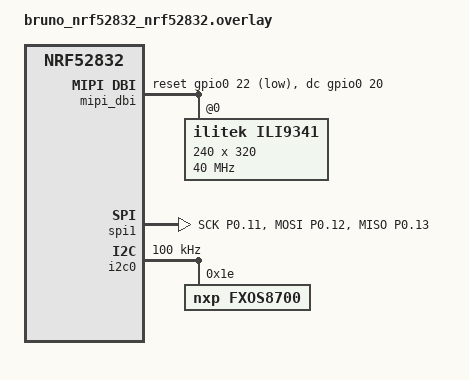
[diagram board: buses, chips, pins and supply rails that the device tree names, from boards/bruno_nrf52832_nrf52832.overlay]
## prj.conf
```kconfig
CONFIG_MAIN_STACK_SIZE=4096
CONFIG_LOG=y

# Fix ILI9341 color order: SPI sends bytes in memory order (little-endian),
# but ILI9341 expects high byte first. Pre-swapping bytes in LVGL corrects this.
CONFIG_LV_COLOR_16_SWAP=y

# Enable LVGL's internal logging system
CONFIG_LV_USE_LOG=y
# Only show warnings and errors (not verbose info/trace)
CONFIG_LV_LOG_LEVEL_WARN=y

CONFIG_LVGL=y
CONFIG_LV_Z_MEM_POOL_SIZE=16384

CONFIG_DISPLAY=y
CONFIG_INPUT=y
CONFIG_SENSOR=y
CONFIG_EMUL=y

CONFIG_I2C=y

# Enable %f support in picolibc's vsnprintf (used by lv_label_set_text_fmt)
CONFIG_CBPRINTF_FP_SUPPORT=y

# Fonts
CONFIG_LV_FONT_MONTSERRAT_16=y
```

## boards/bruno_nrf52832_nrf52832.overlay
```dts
/*
 * TFT SPI - ILI9341 240x320
 * Compatible: "ilitek,ili9341"
 * Uses MIPI DBI (SPI mode) interface
 */

#include <zephyr/dt-bindings/gpio/gpio.h>
#include <zephyr/dt-bindings/mipi_dbi/mipi_dbi.h>

/ {
    aliases {
        accel0 = &fxos8700;
    };

    chosen {
        zephyr,display = &ili9341;
    };

    mipi_dbi {
        compatible = "zephyr,mipi-dbi-spi";
        spi-dev = <&spi1>;
        dc-gpios = <&gpio0 20 GPIO_ACTIVE_HIGH>;
        reset-gpios = <&gpio0 22 GPIO_ACTIVE_LOW>;
        #address-cells = <1>;
        #size-cells = <0>;

        ili9341: ili9341@0 {
            compatible = "ilitek,ili9341";
            reg = <0>;
            mipi-max-frequency = <40000000>;
            mipi-mode = "MIPI_DBI_MODE_SPI_4WIRE";

            width = <240>;
            height = <320>;
            pixel-format = <0>;
            rotation = <180>;
        };
    };
};

/* I2C0 habilitado para o FXOS8700CQ */
/* &i2c0 { status = "disabled"; }; */
&i2c1 { status = "disabled"; };
&spi0 { status = "disabled"; };
&adc  { status = "disabled"; };

&spi1 {
    compatible = "nordic,nrf-spim";
    status = "okay";

    #address-cells = <1>;
    #size-cells = <0>;

    cs-gpios = <&gpio0 19 GPIO_ACTIVE_LOW>;

    pinctrl-0 = <&spi1_default>;
    pinctrl-1 = <&spi1_sleep>;
    pinctrl-names = "default", "sleep";


};

&i2c0 {
    compatible = "nordic,nrf-twim"; /* TWIM com EasyDMA (substitui nrf-twi legado) */
    status = "okay";
    clock-frequency = <I2C_BITRATE_STANDARD>; /* 100 kHz */

    fxos8700: fxos8700@1e {
        compatible = "nxp,fxos8700";
        reg = <0x1e>;
        range = <2>;
    };
};

&pinctrl {
    spi1_default: spi1_default {
        group1 {
            psels = <NRF_PSEL(SPIM_SCK,  0, 11)>,
                    <NRF_PSEL(SPIM_MOSI, 0, 12)>,
                    <NRF_PSEL(SPIM_MISO, 0, 13)>;
        };
    };

    spi1_sleep: spi1_sleep {
        group1 {
            psels = <NRF_PSEL(SPIM_SCK,  0, 11)>,
                    <NRF_PSEL(SPIM_MOSI, 0, 12)>,
                    <NRF_PSEL(SPIM_MISO, 0, 13)>;
            low-power-enable;
        };
    };
};
```

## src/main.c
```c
/*
 * LVGL usage example on Zephyr RTOS
 *
 * Copyright (c) 2023 Benjamin Cabé <benjamin@zephyrproject.org>
 *
 * SPDX-License-Identifier: Apache-2.0
 */

#include <zephyr/device.h>
#include <zephyr/devicetree.h>
#include <zephyr/drivers/display.h>
#include <zephyr/drivers/sensor.h>
#include <zephyr/drivers/i2c.h>

#include <lvgl.h>
#include <stdio.h>
#include <string.h>
#include <zephyr/kernel.h>

#include <zephyr/logging/log.h>
LOG_MODULE_REGISTER(app, CONFIG_LOG_DEFAULT_LEVEL);

#define ACCEL_SCALE 100
#define G_MS2       9.81

static lv_obj_t *chart1;
static lv_chart_series_t *ser_x;
static lv_chart_series_t *ser_y;
static lv_chart_series_t *ser_z;
static lv_obj_t *lbl_x;
static lv_obj_t *lbl_y;
static lv_obj_t *lbl_z;
static lv_timer_t *sensor_timer;

const struct device *accel_sensor;

/* Timer handler: fetches sensor data and appends it to the chart */
static void sensor_timer_cb(lv_timer_t *timer)
{
	struct sensor_value accel[3];
	int rc = sensor_sample_fetch(accel_sensor);

	if (rc == 0) {
		rc = sensor_channel_get(accel_sensor, SENSOR_CHAN_ACCEL_XYZ, accel);
	}
	if (rc < 0) {
		LOG_ERR("ERROR: Update failed: %d\n", rc);
		return;
	}

	double ax = sensor_value_to_double(&accel[0]);
	double ay = sensor_value_to_double(&accel[1]);
	double az = sensor_value_to_double(&accel[2]);

	lv_chart_set_next_value(chart1, ser_x, (int32_t)(ax * ACCEL_SCALE));
	lv_chart_set_next_value(chart1, ser_y, (int32_t)(ay * ACCEL_SCALE));
	lv_chart_set_next_value(chart1, ser_z, (int32_t)(az * ACCEL_SCALE));

	/* Update legend with current values in G */
	lv_label_set_text_fmt(lbl_x, "X:%.2fG", ax / G_MS2);
	lv_label_set_text_fmt(lbl_y, "Y:%.2fG", ay / G_MS2);
	lv_label_set_text_fmt(lbl_z, "Z:%.2fG", az / G_MS2);
}

static void create_legend(lv_obj_t *parent)
{
	lv_obj_t *legend = lv_obj_create(parent);
	lv_obj_remove_style_all(legend);
	lv_obj_set_size(legend, LV_HOR_RES, 30);
	lv_obj_align(legend, LV_ALIGN_TOP_LEFT, 0, 0);
	lv_obj_set_style_bg_color(legend, lv_color_white(), 0);
	lv_obj_set_style_bg_opa(legend, LV_OPA_COVER, 0);
	lv_obj_set_flex_flow(legend, LV_FLEX_FLOW_ROW);
	lv_obj_set_flex_align(legend, LV_FLEX_ALIGN_SPACE_EVENLY, LV_FLEX_ALIGN_CENTER,
			      LV_FLEX_ALIGN_CENTER);

	static const struct {
		const char *init;
		lv_palette_t color;
		lv_obj_t **lbl;
	} items[] = {
		{"X: --", LV_PALETTE_RED, &lbl_x},
		{"Y: --", LV_PALETTE_BLUE, &lbl_y},
		{"Z: --", LV_PALETTE_GREEN, &lbl_z},
	};

	for (int i = 0; i < 3; i++) {
		lv_obj_t *lbl = lv_label_create(legend);
		lv_label_set_text(lbl, items[i].init);
		lv_obj_set_style_text_font(lbl, &lv_font_montserrat_16, 0);
		lv_obj_set_style_text_color(lbl, lv_palette_main(items[i].color), 0);
		*items[i].lbl = lbl;
	}
}

#define CHART_TOP_MARGIN 30


static void create_accelerometer_chart(lv_obj_t *parent)
{
	create_legend(parent);

	chart1 = lv_chart_create(parent);
	lv_obj_set_size(chart1, LV_HOR_RES, LV_VER_RES - CHART_TOP_MARGIN);
	lv_obj_align(chart1, LV_ALIGN_BOTTOM_MID, 0, 0);
	lv_chart_set_type(chart1, LV_CHART_TYPE_LINE);
	lv_chart_set_div_line_count(chart1, 5, 8);
	lv_chart_set_range(chart1, LV_CHART_AXIS_PRIMARY_Y, -2000, 2000); /* -/+ 2G scaled x100 */
	lv_chart_set_update_mode(chart1, LV_CHART_UPDATE_MODE_SHIFT);

	ser_x = lv_chart_add_series(chart1, lv_palette_main(LV_PALETTE_RED),
				    LV_CHART_AXIS_PRIMARY_Y);
	ser_y = lv_chart_add_series(chart1, lv_palette_main(LV_PALETTE_BLUE),
				    LV_CHART_AXIS_PRIMARY_Y);
	ser_z = lv_chart_add_series(chart1, lv_palette_main(LV_PALETTE_GREEN),
				    LV_CHART_AXIS_PRIMARY_Y);

	lv_chart_set_point_count(chart1, CONFIG_SAMPLE_CHART_POINTS_PER_SERIES);

	/* Do not display point markers on the data */
	lv_obj_set_style_size(chart1, 0, 0, LV_PART_INDICATOR);
}

/* Scan do barramento I2C - lista todos os enderecos que respondem */
static void i2c_scan(const struct device *i2c_dev)
{
	uint8_t dummy;

	LOG_INF("I2C scan on %s...", i2c_dev->name);
	for (uint8_t addr = 0x08; addr < 0x78; addr++) {
		int ret = i2c_read(i2c_dev, &dummy, 1, addr);
		if (ret == 0) {
			LOG_INF("  Found device at 0x%02X", addr);
		}
	}
	LOG_INF("I2C scan done.");
}

int main(void)
{
	const struct device *display_dev;

	/* I2C scan para debug - remover depois */
	const struct device *i2c_dev = DEVICE_DT_GET(DT_NODELABEL(i2c0));
	if (device_is_ready(i2c_dev)) {
		i2c_scan(i2c_dev);
	} else {
		LOG_ERR("I2C0 not ready");
	}

	display_dev = DEVICE_DT_GET(DT_CHOSEN(zephyr_display));
	if (!device_is_ready(display_dev)) {
		LOG_ERR("Device not ready, aborting test");
		return -ENODEV;
	}

	accel_sensor = DEVICE_DT_GET(DT_ALIAS(accel0));
	if (!device_is_ready(accel_sensor)) {
		LOG_ERR("Device %s is not ready\n", accel_sensor->name);
		return -ENODEV;
	}

	create_accelerometer_chart(lv_screen_active());
	sensor_timer = lv_timer_create(sensor_timer_cb,
					100 / CONFIG_SAMPLE_ACCEL_SAMPLING_RATE,
					NULL);
	lv_timer_handler();
	display_blanking_off(display_dev);

	while (1) {
		uint32_t sleep_ms = lv_timer_handler();

		k_msleep(MIN(sleep_ms, INT32_MAX));
	}

	return 0;
}
```
